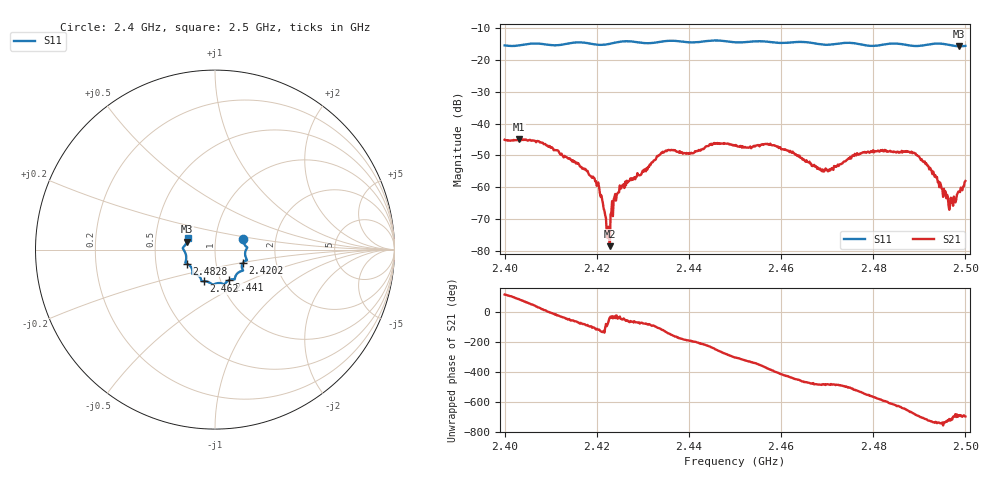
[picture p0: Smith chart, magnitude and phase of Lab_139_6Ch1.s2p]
# Hz S RI R 50
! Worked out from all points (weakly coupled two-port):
!   601 points, 2.4 GHz to 2.5 GHz, reference 50 ohm
!   highest |S21| = -44.92 dB at 2.4032 GHz (marker M1); lowest = -78.4 dB at 2.4228 GHz (marker M2)
!   lowest |S11| = -15.8 dB at 2.4987 GHz (marker M3), VSWR 1.39, Z = 36.3 + j3.25 ohm
!   |S11| at or under -10 dB: start of sweep to end of sweep
!   S12 and S22 are empty: the file has one direction only
!   S11 on the Smith chart (normalised r, x): 2.4 GHz: 1.36, +0.17; 2.4202 GHz: 1.35, -0.20; 2.441 GHz: 1.10, -0.39; 2.462 GHz: 0.83, -0.30; 2.4828 GHz: 0.72, -0.12; 2.5 GHz: 0.73, +0.09
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2.4e9  0.1568 0.0606  -0.00224 0.00511  0 0  0 0
2.403167e9  0.1664 0.0254  0.000719 0.00563  0 0  0 0
2.407833e9  0.178 0.00815  0.00472 0.00186  0 0  0 0
2.416667e9  0.1776 -0.0591  0.000391 -0.00205  0 0  0 0
2.420167e9  0.1566 -0.0721  -0.000545 -0.001  0 0  0 0
2.422333e9  0.149 -0.0923  1e-05 -0.000161  0 0  0 0
2.422833e9  0.1495 -0.0972  9.15e-05 -7.71e-05  0 0  0 0
2.4235e9  0.1508 -0.1032  0.00025 -0.00025  0 0  0 0
2.425333e9  0.1557 -0.1144  0.000627 -0.000729  0 0  0 0
2.433333e9  0.1126 -0.152  -0.00103 -0.00291  0 0  0 0
2.441e9  0.0773 -0.1706  -0.00321 0.00123  0 0  0 0
2.45e9  0.027 -0.1865  0.00262 0.00365  0 0  0 0
2.462e9  -0.0616 -0.176  0.000762 -0.00365  0 0  0 0
2.466667e9  -0.0773 -0.1672  -0.00105 -0.0019  0 0  0 0
2.470333e9  -0.099 -0.1409  -0.00106 -0.00147  0 0  0 0
2.476e9  -0.1259 -0.1304  -0.00317 -0.00111  0 0  0 0
2.482833e9  -0.1581 -0.0778  -0.00192 0.00326  0 0  0 0
2.483333e9  -0.1608 -0.0765  -0.00131 0.00339  0 0  0 0
2.4895e9  -0.1618 -0.0292  0.00285 0.00148  0 0  0 0
2.496833e9  -0.1677 0.0231  0.000686 -5.78e-05  0 0  0 0
2.498667e9  -0.1566 0.0435  0.000745 0.000428  0 0  0 0
2.5e9  -0.1531 0.0621  0.00118 0.00044  0 0  0 0
